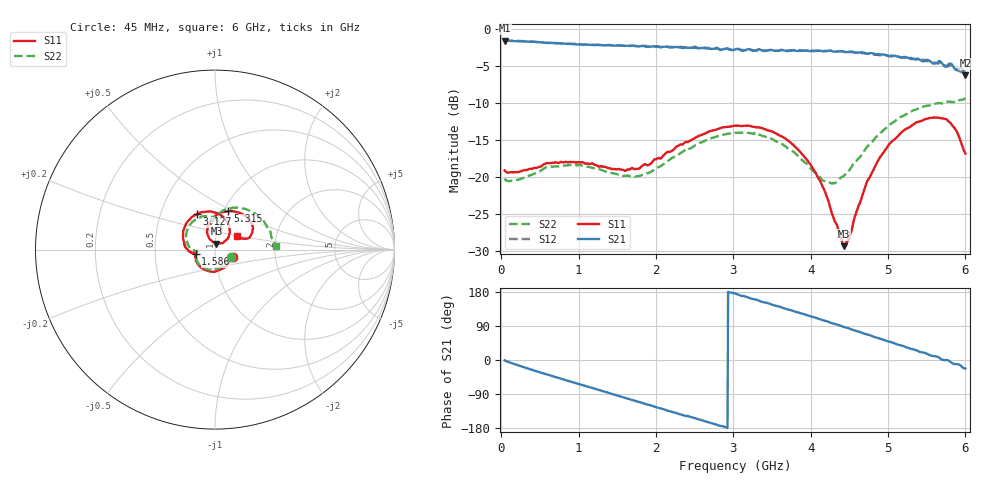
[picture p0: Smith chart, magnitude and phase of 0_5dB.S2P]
! C:\Users\Aljaz\OneDrive - Univerza v Ljubljani\DOKTORAT\NOVI SA\Slabilec PE43711B\meritve\0_5dB.S2P
! Touchstone 1.1 file saved by VNA.EXE V1.65 (www.ke5fx.com/gpib/readme.htm)
! 2. 04. 2022 19:09:28
!  Source: HP8510C.07.14: Aug 26  1998
!  Min freq: 4.500000E+007 Hz
!  Max freq: 6.000000E+009 Hz
!  Points: 801
!  Params: S11 S21 S12 S22
# GHZ S DB R 50
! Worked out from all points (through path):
!   801 points, 45 MHz to 6 GHz, reference 50 ohm
!   highest |S21| = -1.54 dB at 52.44 MHz (marker M1); lowest = -6.2 dB at 6 GHz (marker M2)
!   group delay of S21, straight-line fit = 173 ps
!   lowest |S11| = -29.4 dB at 4.429 GHz (marker M3), VSWR 1.07, Z = 50.7 + j3.34 ohm
!   |S11| at or under -10 dB: start of sweep to end of sweep
!   |S22| runs from -20.9 to -9.3 dB; largest |S21 - S12| = 0.035
!   S11 on the Smith chart (normalised r, x): 45 MHz: 1.22, -0.11; 1.586 GHz: 0.80, -0.04; 3.127 GHz: 0.76, +0.32; 5.315 GHz: 1.04, +0.47; 6 GHz: 1.26, +0.19
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0.045  -19.13 -23.1  -1.55 -0.8  -1.51 -0.8  -20.23 -26.5
0.05244375  -19.21 -22.3  -1.54 -1.7  -1.50 -1.7  -20.36 -25.6
0.5362875  -18.40 -85.5  -1.78 -34.8  -1.75 -34.7  -18.99 -92.5
1.042463  -18.01 -139.2  -2.05 -65.8  -2.05 -65.7  -18.44 -147.5
1.585856  -19.10 -166.2  -2.24 -98.9  -2.19 -98.5  -19.86 -174.3
2.032481  -17.42 -172.7  -2.36 -126.4  -2.30 -126.0  -18.65 -177.0
2.523769  -14.61 162.1  -2.51 -155.0  -2.42 -155.6  -15.63 163.0
3.0225  -13.06 125.4  -2.72 175.8  -2.79 175.4  -14.01 128.9
3.126713  -13.08 116.9  -2.90 169.2  -2.79 168.7  -13.99 121.4
3.647775  -14.63 74.3  -2.84 137.0  -2.80 137.4  -15.66 85.0
4.019963  -18.70 46.7  -2.97 114.0  -2.85 113.7  -19.09 72.4
4.168838  -21.64 40.7  -2.98 104.5  -2.90 104.2  -20.54 77.2
4.27305  -24.93 40.2  -2.94 97.3  -2.92 97.3  -20.87 84.4
4.429369  -29.39 75.9  -3.03 87.1  -3.00 86.8  -19.88 96.3
4.503806  -27.95 95.9  -3.02 82.8  -3.08 82.4  -19.01 97.4
4.734563  -20.54 115.9  -3.30 67.3  -3.32 67.0  -15.87 94.3
5.009981  -15.65 98.5  -3.59 48.8  -3.64 49.2  -13.02 78.0
5.315175  -12.97 71.6  -4.00 28.8  -3.94 28.8  -11.05 54.5
5.5236  -12.04 52.6  -4.19 14.2  -4.28 15.1  -10.33 37.2
5.746912  -12.16 31.4  -5.07 -0.1  -4.92 -1.4  -9.80 19.2
5.8809  -13.69 19.9  -5.47 -10.6  -5.45 -11.9  -9.69 9.8
6  -16.83 31.3  -6.20 -22.6  -6.27 -20.9  -9.31 3.8
